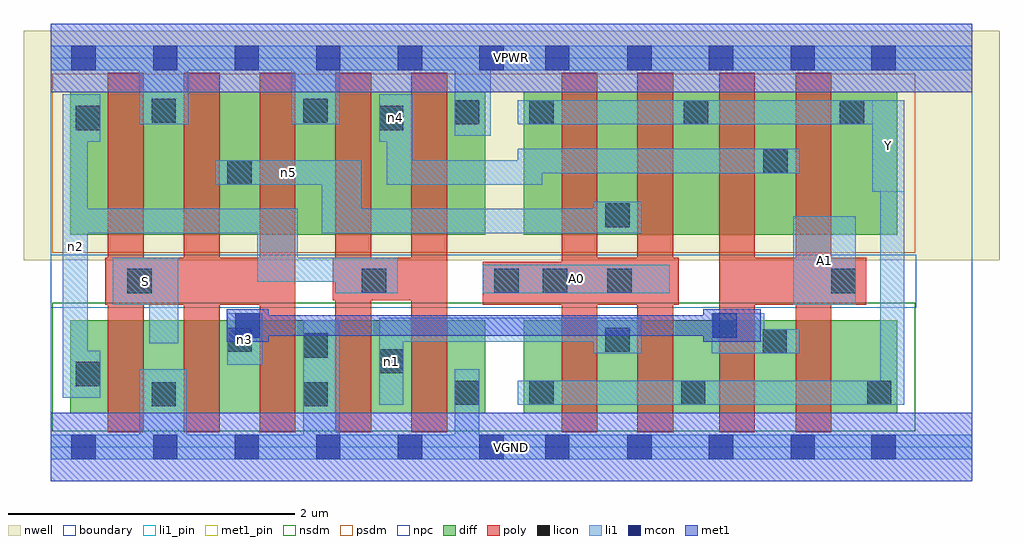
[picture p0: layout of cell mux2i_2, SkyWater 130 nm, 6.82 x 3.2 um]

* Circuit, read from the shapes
.subckt mux2i_2 A0 A1 S VGND VPWR Y n1 n2 n3 n4 n5
XM1 VGND S n2 VSUBS sky130_fd_pr__nfet_01v8 w=0.65 l=0.25
XM2 n3 S VGND VSUBS sky130_fd_pr__nfet_01v8 w=0.65 l=0.25 m=2
XM3 n1 n2 VGND VSUBS sky130_fd_pr__nfet_01v8 w=0.65 l=0.25 m=2
XM4 n1 A0 Y VSUBS sky130_fd_pr__nfet_01v8 w=0.65 l=0.25 m=2
XM5 n3 A1 Y VSUBS sky130_fd_pr__nfet_01v8 w=0.65 l=0.25 m=2
XM6 VPWR S n2 n6 sky130_fd_pr__pfet_01v8 w=1 l=0.25
XM7 n5 S VPWR n6 sky130_fd_pr__pfet_01v8 w=1 l=0.25 m=2
XM8 n4 n2 VPWR n6 sky130_fd_pr__pfet_01v8 w=1 l=0.25 m=2
XM9 n5 A0 Y n6 sky130_fd_pr__pfet_01v8 w=1 l=0.25 m=2
XM10 n4 A1 Y n6 sky130_fd_pr__pfet_01v8 w=1 l=0.25 m=2
.ends

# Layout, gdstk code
import gdstk
lib = gdstk.Library(unit=1e-6, precision=1e-09)
def R(c, l, rs):  # rectangles x0, y0, x1, y1
    for r in rs: c.add(gdstk.rectangle(r[:2], r[2:], *l))
def A(c, l, x, y, w, h, nx, ny, dx, dy):  # array of equal rectangles
    R(c, l, [(x+i*dx, y+j*dy, x+i*dx+w, y+j*dy+h) for i in range(nx) for j in range(ny)])
nwell = (64, 20)
diff = (65, 20)
poly = (66, 20)
licon = (66, 44)
li1_pin = (67, 16)
li1 = (67, 20)
mcon = (67, 44)
met1_pin = (68, 16)
met1 = (68, 20)
nsdm = (93, 44)
psdm = (94, 20)
npc = (95, 20)
boundary = (235, 4)

mux2i_2 = lib.new_cell('mux2i_2')
R(mux2i_2, nwell, [(-0.19,1.305,6.63,2.91), (0,1.305,6.44,2.91)])
R(mux2i_2, diff, [(0.135,0.235,3.035,0.885), (3.305,0.235,5.915,0.885), (0.135,1.485,3.035,2.485), (3.305,1.485,5.915,2.485)])
A(mux2i_2, poly, 0.4, 0.105, 0.25, 2.51, 5, 1, 0.53, 0)
R(mux2i_2, poly, [(3.57,0.105,3.82,2.615), (4.1,0.105,4.35,2.615), (4.67,0.105,4.92,2.615), (5.205,0.105,5.455,2.615), (0.38,0.995,1.71,1.325), (3.02,0.995,4.39,1.295), (3.57,0.995,4.39,1.325), (4.67,0.995,5.7,1.325), (1.97,1.025,2.77,1.325)])
R(mux2i_2, licon, [(0.705,0.285,0.875,0.455), (1.765,0.285,1.935,0.455), (2.825,0.295,2.995,0.465), (3.345,0.295,3.515,0.465), (4.405,0.295,4.575,0.465), (5.705,0.295,5.875,0.465), (0.175,0.425,0.345,0.595), (2.295,0.515,2.465,0.685), (1.765,0.625,1.935,0.795), (4.975,0.655,5.145,0.825), (1.235,0.665,1.405,0.835), (3.875,0.665,4.045,0.835), (0.535,1.075,0.705,1.245), (2.175,1.075,2.345,1.245), (3.1,1.075,3.27,1.245), (3.44,1.075,3.61,1.245), (3.89,1.075,4.06,1.245), (5.455,1.075,5.625,1.245), (3.875,1.535,4.045,1.705), (1.235,1.835,1.405,2.005), (4.98,1.915,5.15,2.085), (0.175,2.215,0.345,2.385), (2.295,2.215,2.465,2.385), (2.825,2.255,2.995,2.425), (3.345,2.255,3.515,2.425), (4.425,2.255,4.595,2.425), (5.515,2.255,5.685,2.425), (0.705,2.265,0.875,2.435), (1.765,2.265,1.935,2.435)])
R(mux2i_2, li1_pin, [(0.435,0.995,0.89,1.325), (5.19,0.995,5.625,1.615), (3.02,1.075,4.325,1.275), (5.74,1.785,5.965,2.425)])
R(mux2i_2, li1, [(0,-0.085,6.44,0.085), (0.62,-0.085,0.95,0.545), (1.765,-0.085,2.02,0.885), (2.825,-0.085,2.995,0.545), (2.295,0.295,2.465,0.905), (3.265,0.295,5.965,0.465), (5.795,0.295,5.965,2.425), (0.085,0.345,0.26,2.465), (0.085,0.345,0.345,0.675), (1.235,0.575,1.48,0.935), (3.79,0.655,4.13,0.905), (4.62,0.655,5.23,0.825), (4.62,0.655,4.985,0.935), (0.69,0.725,0.89,1.325), (2.295,0.735,4.13,0.905), (0.435,0.995,0.89,1.325), (5.19,0.995,5.625,1.615), (1.99,1.075,2.425,1.325), (3.02,1.075,4.325,1.275), (1.445,1.155,2.425,1.325), (1.445,1.155,1.725,1.665), (0.085,1.495,1.725,1.665), (1.895,1.495,4.13,1.665), (1.895,1.495,2.17,2.005), (3.79,1.495,4.13,1.715), (5.74,1.785,5.965,2.425), (1.15,1.835,2.17,2.005), (2.35,1.835,3.435,2.005), (2.35,1.835,2.525,2.465), (3.435,1.915,5.235,2.085), (3.265,2.005,5.235,2.085), (0.085,2.135,0.345,2.465), (2.295,2.135,2.525,2.465), (2.825,2.175,3.075,2.805), (0.62,2.255,0.96,2.805), (1.68,2.255,2.02,2.805), (3.265,2.255,5.965,2.425), (0,2.635,6.44,2.805)])
A(mux2i_2, mcon, 0.145, -0.085, 0.17, 0.17, 6, 2, 0.57, 2.72)
A(mux2i_2, mcon, 4.03, -0.085, 0.17, 0.17, 3, 2, 0.57, 2.72)
R(mux2i_2, mcon, [(3.455,-0.085,3.625,0.085), (5.735,-0.085,5.905,0.085), (1.29,0.765,1.46,0.935), (4.625,0.765,4.795,0.935), (3.455,2.635,3.625,2.805), (5.735,2.635,5.905,2.805)])
R(mux2i_2, met1_pin, [(0,-0.24,6.44,0.24), (0,2.48,6.44,2.96)])
R(mux2i_2, met1, [(0,-0.24,6.44,0.24), (1.23,0.735,1.525,0.965), (4.56,0.735,4.96,0.965), (1.23,0.78,4.96,0.92), (0,2.48,6.44,2.96)])
R(mux2i_2, nsdm, [(0.01,0.11,6.04,1.01)])
R(mux2i_2, psdm, [(0.01,1.36,6.04,2.61)])
R(mux2i_2, npc, [(0,0.975,6.05,1.345)])
R(mux2i_2, boundary, [(0,0,6.44,2.72)])
mux2i_2.add(gdstk.Label('A0', (3.672,1.175), layer=67, texttype=5))
mux2i_2.add(gdstk.Label('A1', (5.407,1.305), layer=67, texttype=5))
mux2i_2.add(gdstk.Label('S', (0.662,1.16), layer=67, texttype=5))
mux2i_2.add(gdstk.Label('Y', (5.852,2.105), layer=67, texttype=5))
mux2i_2.add(gdstk.Label('n1', (2.38,0.6), layer=67, texttype=5))
mux2i_2.add(gdstk.Label('n3', (1.357,0.755), layer=67, texttype=5))
mux2i_2.add(gdstk.Label('n5', (1.66,1.92), layer=67, texttype=5))
mux2i_2.add(gdstk.Label('n2', (0.172,1.405), layer=67, texttype=5))
mux2i_2.add(gdstk.Label('n4', (2.41,2.3), layer=67, texttype=5))
mux2i_2.add(gdstk.Label('VPWR', (3.22,2.72), layer=68, texttype=5))
mux2i_2.add(gdstk.Label('VGND', (3.22,0), layer=68, texttype=5))
mux2i_2.add(gdstk.Label('A0', (3.672,1.175), layer=67, texttype=16))
mux2i_2.add(gdstk.Label('A1', (5.407,1.305), layer=67, texttype=16))
mux2i_2.add(gdstk.Label('S', (0.662,1.16), layer=67, texttype=16))
mux2i_2.add(gdstk.Label('Y', (5.852,2.105), layer=67, texttype=16))
mux2i_2.add(gdstk.Label('VPWR', (3.22,2.72), layer=68, texttype=16))
mux2i_2.add(gdstk.Label('VGND', (3.22,0), layer=68, texttype=16))

lib.write_gds('mux2i_2.gds')
